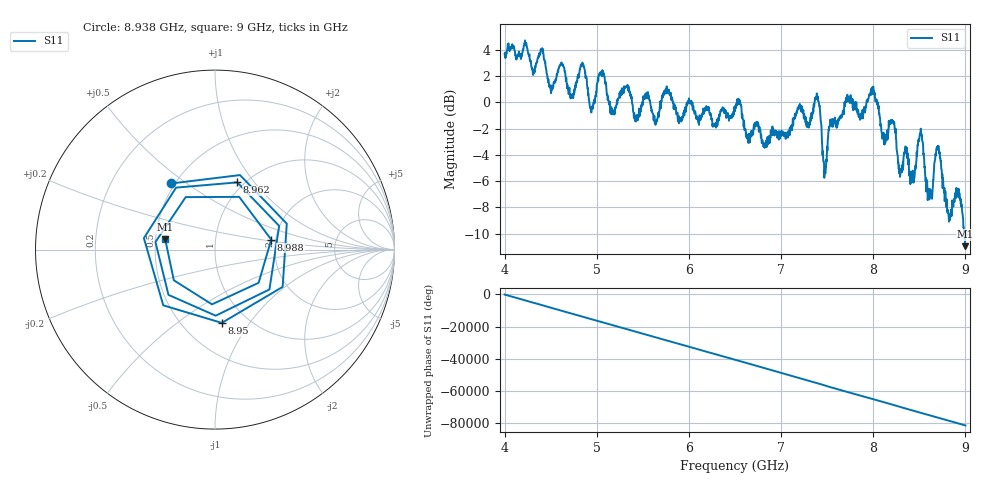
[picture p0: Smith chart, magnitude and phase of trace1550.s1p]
! Created with skrf 1.8.0 (http://scikit-rf.org).
# Hz S RI R 50.0
!freq ReS11 ImS11
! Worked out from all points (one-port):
!   1601 points, 4 GHz to 9 GHz, reference 50 ohm
!   lowest |S11| = -10.9 dB at 9 GHz (marker M1), VSWR 1.79, Z = 28.1 + j3.55 ohm
!   |S11| at or under -10 dB: 8.988466 GHz to end of sweep
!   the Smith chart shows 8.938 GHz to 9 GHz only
!   S11 on the Smith chart (normalised r, x): 8.938 GHz: 0.48, +0.44; 8.95 GHz: 0.76, -0.75; 8.962 GHz: 0.93, +0.82; 8.988 GHz: 1.89, +0.24; 9 GHz: 0.56, +0.07
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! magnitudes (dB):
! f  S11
! 4 GHz  3.7
! 4.625 GHz  2.8
! 4.731 GHz  0.5
! 4.85 GHz  2.8
! 4.944 GHz  -0.4
! 5.05 GHz  2.3
! 5.169 GHz  -0.7
! 5.25 GHz  0.6
! 5.875 GHz  -0.8
! 6.5 GHz  -0.7
! 6.819 GHz  -3.1
! 7.125 GHz  -1.6
! 7.394 GHz  0.2
! 7.475 GHz  -5.2
! 7.75 GHz  0.3
! 7.997 GHz  1.0
! 8.112 GHz  -2.3
! 8.375 GHz  -3.9
! 8.425 GHz  -5.9
! 8.512 GHz  -2.4
! 8.612 GHz  -7.2
! 8.7 GHz  -3.6
! 8.816 GHz  -8.6
! 8.938 GHz  -7.1
! 8.95 GHz  -7.7
! 8.962 GHz  -8.1
! 8.988 GHz  -9.9
! 9 GHz  -10.9
